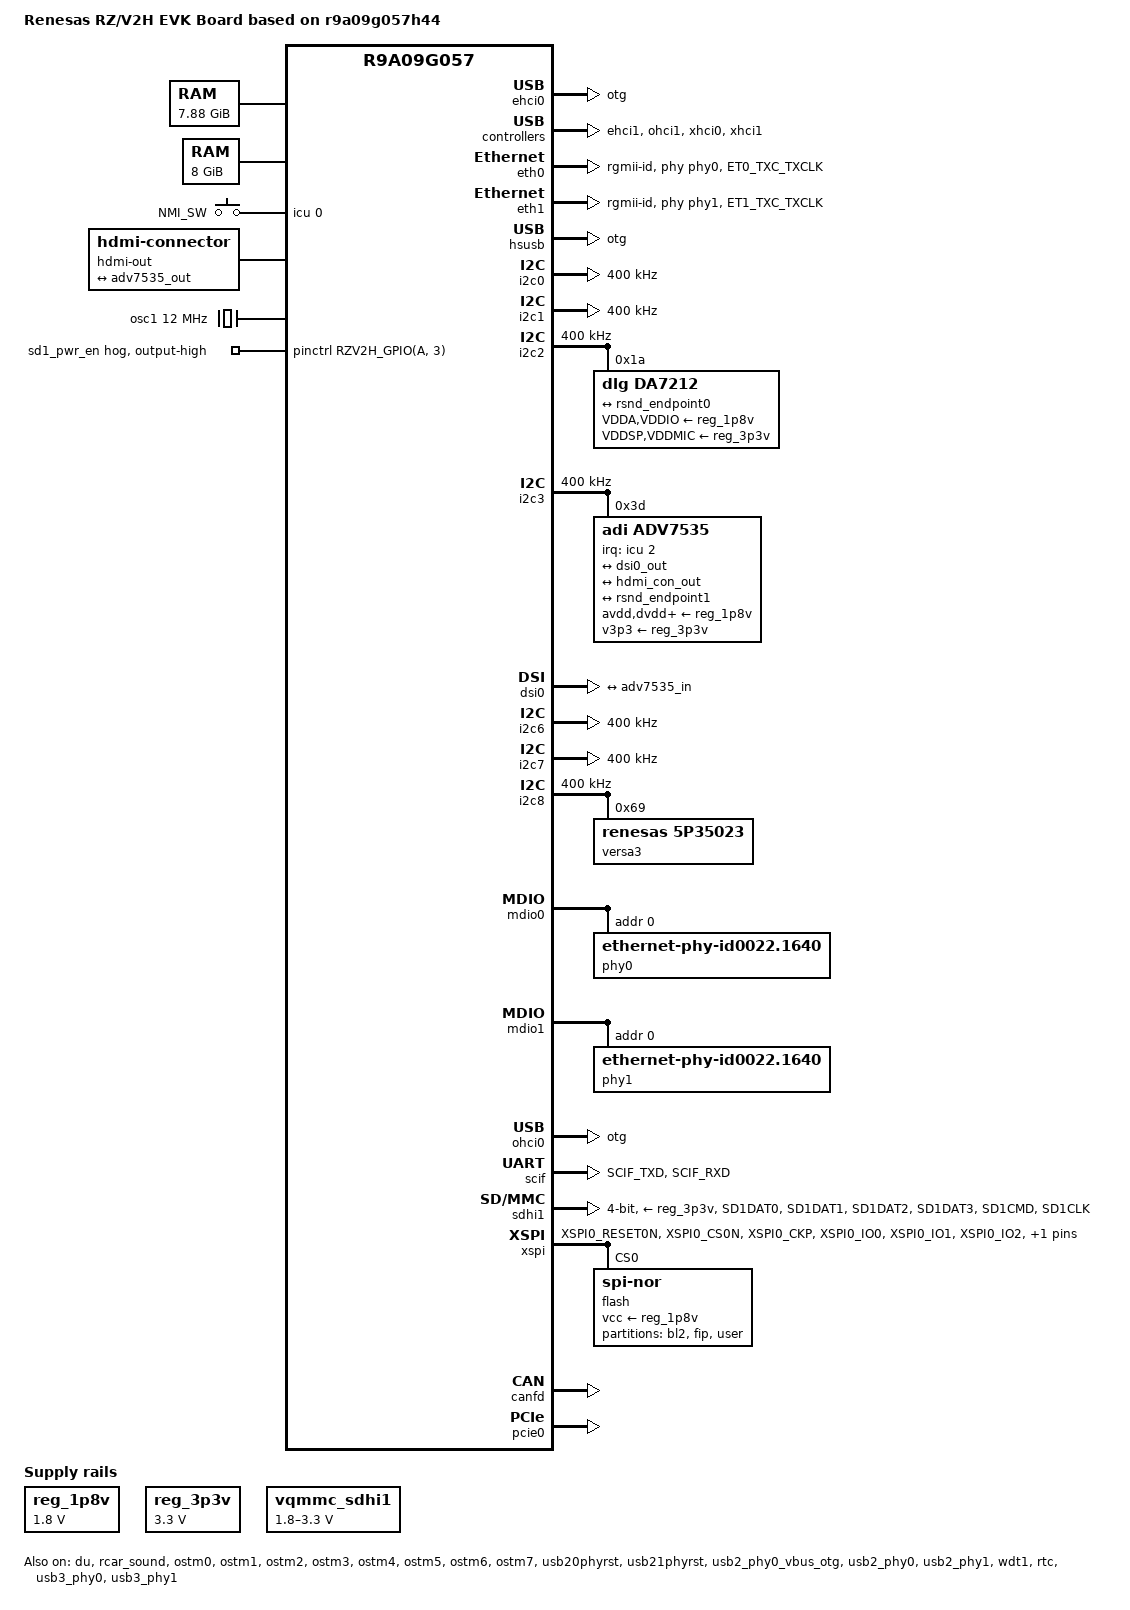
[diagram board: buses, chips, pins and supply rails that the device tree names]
// SPDX-License-Identifier: (GPL-2.0-only OR BSD-2-Clause)
/*
 * Device Tree Source for the RZ/V2H EVK board
 *
 * Copyright (C) 2024 Renesas Electronics Corp.
 */

/dts-v1/;

#include <dt-bindings/pinctrl/renesas,r9a09g057-pinctrl.h>
#include <dt-bindings/gpio/gpio.h>
#include <dt-bindings/input/input.h>
#include "r9a09g057.dtsi"

/*
 * SSI-DA7212
 *
 * These commands are required when Playback/Capture
 *
 *	amixer -q cset name='Aux Switch' on
 *	amixer -q cset name='Mixin Left Aux Left Switch' on
 *	amixer -q cset name='Mixin Right Aux Right Switch' on
 *	amixer -q cset name='ADC Switch' on
 *	amixer -q cset name='Mixout Right Mixin Right Switch' off
 *	amixer -q cset name='Mixout Left Mixin Left Switch' off
 *	amixer -q cset name='Headphone Volume' 80%
 *	amixer -q cset name='Headphone Switch' on
 *	amixer -q cset name='Mixout Left DAC Left Switch' on
 *	amixer -q cset name='Mixout Right DAC Right Switch' on
 *	amixer -q cset name='DAC Left Source MUX' 'DAI Input Left'
 *	amixer -q cset name='DAC Right Source MUX' 'DAI Input Right'
 *	amixer -q sset 'Mic 1 Amp Source MUX' 'MIC_P'
 *	amixer -q sset 'Mic 2 Amp Source MUX' 'MIC_P'
 *	amixer -q sset 'Mixin Left Mic 1' on
 *	amixer -q sset 'Mixin Right Mic 2' on
 *	amixer -q sset 'Mic 1' 80% on
 *	amixer -q sset 'Mic 2' 80% on
 *	amixer -q sset 'Lineout' 80% on
 *	amixer -q sset 'Mixin PGA' 40% on
 *
 * When Capture/Playback, use this command to amplify sound
 *	amixer set 'DVC In',0 10%
 *	amixer set 'DVC Out',0 20%
 */

/*
 * Jumper setting
 *
 * Please change the jumper setting in board devicetree corresponding to below Macros:
 *
 * SEL_CAN01_HEADER:
 *	1: CAN0/1 (default)		0: External Header Pin
 */

/* Switch selection settings */
#define SEL_CAN01_HEADER		1
/ {
	model = "Renesas RZ/V2H EVK Board based on r9a09g057h44";
	compatible = "renesas,rzv2h-evk", "renesas,r9a09g057h44", "renesas,r9a09g057";

	aliases {
		ethernet0 = &eth0;
		ethernet1 = &eth1;
		i2c0 = &i2c0;
		i2c1 = &i2c1;
		i2c2 = &i2c2;
		i2c3 = &i2c3;
		i2c6 = &i2c6;
		i2c7 = &i2c7;
		i2c8 = &i2c8;
		mmc1 = &sdhi1;
		serial0 = &scif;
	};

	chosen {
		bootargs = "ignore_loglevel";
		stdout-path = "serial0:115200n8";
	};

	memory@48000000 {
		device_type = "memory";
		/* first 128MB is reserved for secure area. */
		reg = <0x0 0x48000000 0x1 0xF8000000>;
	};

	memory@240000000 {
		device_type = "memory";
		reg = <0x2 0x40000000 0x2 0x00000000>;
	};

	reserved-memory {
		#address-cells = <2>;
		#size-cells = <2>;
		ranges;

		global_cma: linux,cma@58000000 {
			compatible = "shared-dma-pool";
			linux,cma-default;
			reusable;
			reg = <0x0 0x58000000 0x0 0x28000000>;
		};

		mmp_reserved: linux,multimedia {
			compatible = "shared-dma-pool";
			reusable;
			reg = <0x00000000 0x80000000 0x0 0x10000000>;
		};

		isp_reserved: frame_buffer@90000000 {
			compatible = "shared-dma-pool";
			reusable;
			reg = <0x0 0x90000000 0x0 0x18000000>;
		};

		opencva_reserved: OpenCVA@A8000000 {
			reusable;
			reg = <0x0 0xA8000000 0x0 0x7D00000>;
		};

		drp_codec: DRP-Codec@AFD00000 {
			reusable;
			reg = <0x0 0xAFD00000 0x0 0x300000>;
		};

		image_buf0: image_buf@B0000000 {
			compatible = "shared-dma-pool";
			reusable;
			reg = <0x0 0xB0000000 0x0 0x4000000>;
			label = "image_buf0";
		};

		cru_func: cru_buffer@B4000000 {
			compatible = "shared-dma-pool";
			reusable;
			reg = <0x0 0xB4000000 0x0 0x16400000>;
		};

		drp_reserved: DRP-AI@240000000 {
			reusable;
			reg = <0x2 0x40000000 0x0 0x20000000>;
		};
	};

	keys: keys {
		compatible = "gpio-keys";

		key-wakeup {
			interrupts-extended = <&icu 0 IRQ_TYPE_EDGE_FALLING>;
			linux,code = <KEY_WAKEUP>;
			label = "NMI_SW";
			debounce-interval = <20>;
			wakeup-source;
		};
	};

	reg_1p8v: regulator-1p8v {
		compatible = "regulator-fixed";
		regulator-name = "fixed-1.8V";
		regulator-min-microvolt = <1800000>;
		regulator-max-microvolt = <1800000>;
		regulator-boot-on;
		regulator-always-on;
	};

	reg_3p3v: regulator1 {
		compatible = "regulator-fixed";

		regulator-name = "fixed-3.3V";
		regulator-min-microvolt = <3300000>;
		regulator-max-microvolt = <3300000>;
		regulator-boot-on;
		regulator-always-on;
	};

	vqmmc_sdhi1: regulator-vccq-sdhi1 {
		compatible = "regulator-gpio";
		regulator-name = "SDHI1 VccQ";
		gpios = <&pinctrl RZV2H_GPIO(A, 2) GPIO_ACTIVE_HIGH>;
		regulator-min-microvolt = <1800000>;
		regulator-max-microvolt = <3300000>;
		gpios-states = <0>;
		states = <3300000 0>, <1800000 1>;
	};

	hdmi-out {
		compatible = "hdmi-connector";
		type = "d";

		port {
			hdmi_con_out: endpoint {
				remote-endpoint = <&adv7535_out>;
			};
		};
	};

	osc1: cec-clock {
		compatible = "fixed-clock";
		#clock-cells = <0>;
		clock-frequency = <12000000>;
	};

	x1_clk: x1-clock {
		compatible = "fixed-clock";
		#clock-cells = <0>;
		clock-frequency = <24000000>;
	};

#if (!SEL_CAN01_HEADER)
	codec_test0: codec_test0 {
		compatible = "linux,snd-soc-dummy";
		#sound-dai-cells = <0>;
		port {
			dummy_codec0: endpoint@0 {
				remote-endpoint = <&spdif0_endpoint>;
			};
		};
	};

	codec_test1: codec_test1 {
		compatible = "linux,snd-soc-dummy";
		#sound-dai-cells = <0>;
		port {
			dummy_codec1: endpoint {
				remote-endpoint = <&spdif1_endpoint>;
			};
		};
	};
#endif

	sound_card: sound {
		compatible = "audio-graph-card";

		label = "rcar-sound";

		dais = <&rsnd_port0	/* DA7211 */
			&rsnd_port1	/* HDMI0  */
#if (!SEL_CAN01_HEADER)
			&spdif_port0
			&spdif_port1
#endif
			>;
	};
};

&audio_extal_clk {
	clock-frequency = <22579200>;
};

&ehci0 {
	memory-region = <&global_cma>;
	dr_mode = "otg";
	status = "okay";
};

&ehci1 {
	memory-region = <&global_cma>;
	status = "okay";
};

&eth0 {
	pinctrl-0 = <&eth0_pins>;
	pinctrl-names = "default";
	phy-handle = <&phy0>;
	phy-mode = "rgmii-id";
	status = "okay";
};

&eth1 {
	pinctrl-0 = <&eth1_pins>;
	pinctrl-names = "default";
	phy-handle = <&phy1>;
	phy-mode = "rgmii-id";
	status = "okay";
};

&hsusb {
	dr_mode = "otg";
	status = "okay";
};

&i2c0 {
	pinctrl-0 = <&i2c0_pins>;
	pinctrl-names = "default";
	clock-frequency = <400000>;

	status = "okay";
};

&i2c1 {
	pinctrl-0 = <&i2c1_pins>;
	pinctrl-names = "default";
	clock-frequency = <400000>;

	status = "okay";
};

&i2c2 {
	pinctrl-0 = <&i2c2_pins>;
	pinctrl-names = "default";
	clock-frequency = <400000>;

	status = "okay";

	da7212: codec@1a {
		compatible = "dlg,da7212";
		#sound-dai-cells = <0>;
		#address-cells = <1>;
		#size-cells = <0>;
		reg = <0x1a>;

		clocks = <&rcar_sound>;
		clock-names = "mclk";

		dlg,micbias1-lvl = <2500>;
		dlg,micbias2-lvl = <2500>;
		dlg,dmic-data-sel = "lrise_rfall";
		dlg,dmic-samplephase = "between_clkedge";
		dlg,dmic-clkrate = <3000000>;

		VDDA-supply = <&reg_1p8v>;
		VDDSP-supply = <&reg_3p3v>;
		VDDMIC-supply = <&reg_3p3v>;
		VDDIO-supply = <&reg_1p8v>;

		port {
			da7212_endpoint: endpoint {
				remote-endpoint = <&rsnd_endpoint0>;
			};
		};
	};
};

&i2c3 {
	pinctrl-0 = <&i2c3_pins>;
	pinctrl-names = "default";
	clock-frequency = <400000>;

	status = "okay";

	adv7535: hdmi@3d {
		compatible = "adi,adv7535";
		pinctrl-0 = <&hdmi_int_pins>;
		pinctrl-names = "default";
		reg = <0x3d>;

		clocks = <&osc1>;
		clock-names = "cec";
		avdd-supply = <&reg_1p8v>;
		dvdd-supply = <&reg_1p8v>;
		pvdd-supply = <&reg_1p8v>;
		a2vdd-supply = <&reg_1p8v>;
		v3p3-supply = <&reg_3p3v>;
		v1p2-supply = <&reg_1p8v>;

		interrupt-parent = <&icu>;
		interrupts = <2 IRQ_TYPE_EDGE_FALLING>;

		adi,dsi-lanes = <4>;

		ports {
			#address-cells = <1>;
			#size-cells = <0>;

			port@0 {
				reg = <0>;
				adv7535_in: endpoint@0 {
					remote-endpoint = <&dsi0_out>;
				};
			};

			port@1 {
				reg = <1>;
				adv7535_out: endpoint@1 {
					remote-endpoint = <&hdmi_con_out>;
				};
			};

			port@2 {
				reg = <2>;
				dsi_hdmi0_snd_in: endpoint {
					remote-endpoint = <&rsnd_endpoint1>;
				};
			};
		};
	};
};

&du {
	status = "okay";
};

&dsi0 {
	status = "okay";

	ports {
		port@1 {
			dsi0_out: endpoint {
				remote-endpoint = <&adv7535_in>;
				data-lanes = <1 2 3 4>;
			};
		};
	};
};

&i2c6 {
	pinctrl-0 = <&i2c6_pins>;
	pinctrl-names = "default";
	clock-frequency = <400000>;

	status = "okay";
};

&i2c7 {
	pinctrl-0 = <&i2c7_pins>;
	pinctrl-names = "default";
	clock-frequency = <400000>;

	status = "okay";
};

&i2c8 {
	pinctrl-0 = <&i2c8_pins>;
	pinctrl-names = "default";
	clock-frequency = <400000>;

	status = "okay";

	versa3: versa3@69 {
		compatible = "renesas,5p35023";
		reg = <0x69>;
		#clock-cells = <1>;
		clocks = <&x1_clk>;
		clock-names = "x1";

		assigned-clocks = <&versa3 0>, <&versa3 1>,
				  <&versa3 2>, <&versa3 3>,
				  <&versa3 4>, <&versa3 5>;
		assigned-clock-rates =	<24000000>, <24576000>,
					<32768>, <22579200>,
					<100000000>, <100000000>;
		clock-divider-read-only = <1>, <1>, <1>, <1>, <1>;
		clock-flags = <2176>, <2176>, <2176>, <2052>, <2176>, <2048>;
	};
};

&rcar_sound {
	pinctrl-0 = <&sound_pins>;
	pinctrl-names = "default";

	status = "okay";

	/* audio_clkout */
	#clock-cells = <0>;
	clock-frequency = <11289600>;

	/* Multi DAI */
	#sound-dai-cells = <1>;

	ports {
		#address-cells = <1>;
		#size-cells = <0>;
		rsnd_port0: port@0 {
			reg = <0>;
			rsnd_endpoint0: endpoint {
				remote-endpoint = <&da7212_endpoint>;

				dai-format = "i2s";
				bitclock-master = <&rsnd_endpoint0>;
				frame-master = <&rsnd_endpoint0>;
				mclk-fs = <256>;

				playback = <&ssi3>, <&src0>, <&dvc0>;
				capture = <&ssi4>, <&src1>, <&dvc1>;
			};
		};

		rsnd_port1: port@1 {
			reg = <1>;
			rsnd_endpoint1: endpoint {
				remote-endpoint = <&dsi_hdmi0_snd_in>;

				dai-format = "i2s";
				bitclock-master = <&rsnd_endpoint1>;
				frame-master = <&rsnd_endpoint1>;

				playback = <&ssi0>;
			};
		};

#if (!SEL_CAN01_HEADER)
		spdif_port0: port@2 {
			reg = <2>;
			spdif0_endpoint: endpoint {
				remote-endpoint = <&dummy_codec0>;

				bitclock-master = <&spdif0_endpoint>;
				frame-master = <&spdif0_endpoint>;

				playback = <&spdif0>;
				capture  = <&spdif0>;
			};
		};

		spdif_port1: port@3 {
			reg = <3>;
			spdif1_endpoint: endpoint {
				remote-endpoint = <&dummy_codec1>;

				bitclock-master = <&spdif1_endpoint>;
				frame-master = <&spdif1_endpoint>;

				playback = <&spdif2>;
				capture  = <&spdif2>;
			};
		};
#endif
	};
};

&ssi4 {
	shared-pin;
};

&mdio0 {
	phy0: ethernet-phy@0 {
		compatible = "ethernet-phy-id0022.1640", "ethernet-phy-ieee802.3-c22";
		reg = <0>;
		rxc-skew-psec = <0>;
		txc-skew-psec = <0>;
		rxdv-skew-psec = <0>;
		txdv-skew-psec = <0>;
		rxd0-skew-psec = <0>;
		rxd1-skew-psec = <0>;
		rxd2-skew-psec = <0>;
		rxd3-skew-psec = <0>;
		txd0-skew-psec = <0>;
		txd1-skew-psec = <0>;
		txd2-skew-psec = <0>;
		txd3-skew-psec = <0>;
	};
};

&mdio1 {
	phy1: ethernet-phy@1 {
		compatible = "ethernet-phy-id0022.1640", "ethernet-phy-ieee802.3-c22";
		reg = <0>;
		rxc-skew-psec = <0>;
		txc-skew-psec = <0>;
		rxdv-skew-psec = <0>;
		txdv-skew-psec = <0>;
		rxd0-skew-psec = <0>;
		rxd1-skew-psec = <0>;
		rxd2-skew-psec = <0>;
		rxd3-skew-psec = <0>;
		txd0-skew-psec = <0>;
		txd1-skew-psec = <0>;
		txd2-skew-psec = <0>;
		txd3-skew-psec = <0>;
	};
};

&ohci0 {
	memory-region = <&global_cma>;
	dr_mode = "otg";
	status = "okay";
};

&ohci1 {
	memory-region = <&global_cma>;
	status = "okay";
};

&ostm0 {
	status = "okay";
};

&ostm1 {
	status = "okay";
};

&ostm2 {
	status = "okay";
};

&ostm3 {
	status = "okay";
};

&ostm4 {
	status = "okay";
};

&ostm5 {
	status = "okay";
};

&ostm6 {
	status = "okay";
};

&ostm7 {
	status = "okay";
};

&pinctrl {
	eth0_pins: eth0 {
		pins = "ET0_TXC_TXCLK";
		output-enable;
	};

	eth1_pins: eth1 {
		pins = "ET1_TXC_TXCLK";
		output-enable;
	};

	i2c0_pins: i2c0 {
		pinmux = <RZV2H_PORT_PINMUX(3, 0, 1)>, /* I2C0_SDA */
			 <RZV2H_PORT_PINMUX(3, 1, 1)>; /* I2C0_SCL */
	};

	i2c1_pins: i2c1 {
		pinmux = <RZV2H_PORT_PINMUX(3, 2, 1)>, /* I2C1_SDA */
			 <RZV2H_PORT_PINMUX(3, 3, 1)>; /* I2C1_SCL */
	};

	i2c2_pins: i2c2 {
		pinmux = <RZV2H_PORT_PINMUX(2, 0, 4)>, /* I2C2_SDA */
			 <RZV2H_PORT_PINMUX(2, 1, 4)>; /* I2C2_SCL */
	};

	i2c3_pins: i2c3 {
		pinmux = <RZV2H_PORT_PINMUX(3, 6, 1)>, /* I2C3_SDA */
			 <RZV2H_PORT_PINMUX(3, 7, 1)>; /* I2C3_SCL */
	};

	i2c6_pins: i2c6 {
		pinmux = <RZV2H_PORT_PINMUX(4, 4, 1)>, /* I2C6_SDA */
			 <RZV2H_PORT_PINMUX(4, 5, 1)>; /* I2C6_SCL */
	};

	i2c7_pins: i2c7 {
		pinmux = <RZV2H_PORT_PINMUX(4, 6, 1)>, /* I2C7_SDA */
			 <RZV2H_PORT_PINMUX(4, 7, 1)>; /* I2C7_SCL */
	};

	i2c8_pins: i2c8 {
		pinmux = <RZV2H_PORT_PINMUX(0, 6, 1)>, /* I2C8_SDA */
			 <RZV2H_PORT_PINMUX(0, 7, 1)>; /* I2C8_SCL */
	};

#if (SEL_CAN01_HEADER)
	can0_pins: can0 {
		pinmux = <RZV2H_PORT_PINMUX(8, 0, 5)>, /* TX */
			 <RZV2H_PORT_PINMUX(8, 1, 5)>; /* RX */
	};

	can1_pins: can1 {
		pinmux = <RZV2H_PORT_PINMUX(8, 2, 5)>, /* TX */
			 <RZV2H_PORT_PINMUX(8, 3, 5)>; /* RX */
	};
#endif

	sound_pins: sound {
		ssi34_pins: ssi34 {
			pinmux = <RZV2H_PORT_PINMUX(1, 2, 7)>, /* SSI3_SCK */
				 <RZV2H_PORT_PINMUX(1, 3, 7)>, /* SSI3_WS */
				 <RZV2H_PORT_PINMUX(0, 4, 7)>, /* SSI3_SDATA */
				 <RZV2H_PORT_PINMUX(1, 5, 7)>; /* SSI4_SDATA */
		};

		ssi0_pins: ssi0 {
			pinmux = <RZV2H_PORT_PINMUX(4, 0, 7)>, /* SSI0_SCK */
				 <RZV2H_PORT_PINMUX(4, 1, 7)>, /* SSI0_WS */
				 <RZV2H_PORT_PINMUX(4, 2, 7)>; /* SSI0_SDATA */
		};

		sound_clk_pins: sound_clk {
			pinmux = <RZV2H_PORT_PINMUX(1, 0, 7)>, /* AUDIO_CLKB */
				 <RZV2H_PORT_PINMUX(1, 1, 7)>, /* AUDIO_CLKC */
				 <RZV2H_PORT_PINMUX(9, 7, 8)>; /* AUDIO_CLKOUT */
		};

#if (!SEL_CAN01_HEADER)
		spdif0_pins: spdif0 {
			pinmux = <RZV2H_PORT_PINMUX(8, 0, 8)>, /* SPDIF0_OUT */
				 <RZV2H_PORT_PINMUX(8, 1, 8)>; /* SPDIF0_IN */
		};

		spdif2_pins: spdif2 {
			pinmux = <RZV2H_PORT_PINMUX(8, 2, 8)>, /* SPDIF2_OUT */
				 <RZV2H_PORT_PINMUX(8, 3, 8)>; /* SPDIF2_IN */
		};
#endif
	};

	scif_pins: scif {
		pins = "SCIF_TXD", "SCIF_RXD";
		renesas,output-impedance = <1>;
	};

	sd1-pwr-en-hog {
		gpio-hog;
		gpios = <RZV2H_GPIO(A, 3) GPIO_ACTIVE_HIGH>;
		output-high;
		line-name = "sd1_pwr_en";
	};

	sdhi1_pins: sd1 {
		sd1_dat_cmd {
			pins = "SD1DAT0", "SD1DAT1", "SD1DAT2", "SD1DAT3", "SD1CMD";
			input-enable;
			renesas,output-impedance = <3>;
			slew-rate = <0>;
		};

		sd1_clk {
			pins = "SD1CLK";
			renesas,output-impedance = <3>;
			slew-rate = <0>;
		};

		sd1_cd {
			pinmux = <RZV2H_PORT_PINMUX(9, 4, 14)>; /* SD1_CD */
		};
	};

	usb20_pins: usb20 {
		ovc {
			pinmux =  <RZV2H_PORT_PINMUX(9, 6, 14)>; /* OVC */
		};

		vbus {
			pinmux = <RZV2H_PORT_PINMUX(9, 5, 14)>; /* VBUS */
		};
	};

	usb21_pins: usb21 {
		ovc {
			pinmux = <RZV2H_PORT_PINMUX(6, 7, 14)>; /* OVC */
		};

		vbus {
			pinmux = <RZV2H_PORT_PINMUX(6, 6, 14)>; /* VBUS */
		};
	};

	xspi_pins: xspi0 {
		ctrl {
			pins = "XSPI0_RESET0N", "XSPI0_CS0N", "XSPI0_CKP";
			output-enable;
		};

		io {
			pins = "XSPI0_IO0", "XSPI0_IO1", "XSPI0_IO2", "XSPI0_IO3";
			renesas,output-impedance = <3>;
		};
	};

	usb30_pins: usb30 {
		ovc {
			pinmux = <RZV2H_PORT_PINMUX(B, 1, 14)>; /* OVC */
		};

		vbus {
			pinmux = <RZV2H_PORT_PINMUX(B, 0, 14)>; /* VBUS */
		};
	};

	usb31_pins: usb31 {
		ovc {
			pinmux = <RZV2H_PORT_PINMUX(6, 3, 14)>; /* OVC */
		};

		vbus {
			pinmux = <RZV2H_PORT_PINMUX(6, 2, 14)>; /* VBUS */
		};
	};

	hdmi_int_pins: hdmi_int {
		pinmux = <RZV2H_PORT_PINMUX(7, 1, 13)>; /* IRQ1-HDMI_INT# */
	};

};

&audio_extal_clk {
	clock-frequency = <22579200>;
};

&audio_clkb {
	clock-frequency = <24576000>;
};

&audio_clkc {
	clock-frequency = <22579200>;
};

&qextal_clk {
	clock-frequency = <24000000>;
};

&rtxin_clk {
	clock-frequency = <32768>;
};

&scif {
	pinctrl-0 = <&scif_pins>;
	pinctrl-names = "default";

	status = "okay";
};

&sdhi1 {
	pinctrl-0 = <&sdhi1_pins>;
	pinctrl-1 = <&sdhi1_pins>;
	pinctrl-names = "default", "state_uhs";
	vmmc-supply = <&reg_3p3v>;
	vqmmc-supply = <&vqmmc_sdhi1>;
	bus-width = <4>;
	sd-uhs-sdr50;
	sd-uhs-sdr104;
	status = "okay";
};

&usb20phyrst {
	status = "okay";
};

&usb21phyrst {
	status = "okay";
};

&usb2_phy0_vbus_otg {
	status = "okay";
};

&usb2_phy0 {
	pinctrl-0 = <&usb20_pins>;
	pinctrl-names = "default";

	vbus-supply = <&usb2_phy0_vbus_otg>;
	status = "okay";
};

&usb2_phy1 {
	pinctrl-0 = <&usb21_pins>;
	pinctrl-names = "default";

	status = "okay";
};

&wdt1 {
	status = "okay";
};

&xspi {
	pinctrl-0 = <&xspi_pins>;
	pinctrl-names = "default";
	/*
	 * MT25QU512ABB8E12 flash chip is capable of running at 166MHz
	 * clock frequency. Set the clock frequency to the maximum 133MHz
	 * supported by the RZ/V2H SoC.
	 */
	assigned-clocks = <&cpg CPG_CORE R9A09G057_SPI_CLK_SPI>;
	assigned-clock-rates = <133333334>;
	status = "okay";

	flash@0 {
		compatible = "jedec,spi-nor";
		reg = <0>;
		vcc-supply = <&reg_1p8v>;
		m25p,fast-read;
		spi-tx-bus-width = <4>;
		spi-rx-bus-width = <4>;

		partitions {
			compatible = "fixed-partitions";
			#address-cells = <1>;
			#size-cells = <1>;

			partition@0 {
				label = "bl2";
				reg = <0x00000000 0x00060000>;
			};

			partition@60000 {
				label = "fip";
				reg = <0x00060000 0x1fa0000>;
			};

			partition@2000000 {
				label = "user";
				reg = <0x2000000 0x2000000>;
			};
		};
	};
};

&rtc_clk {
	clock-frequency = <32768>;
};

&rtc {
	status = "okay";
};

&usb3_phy0 {
	status = "okay";
};

&usb3_phy1 {
	status = "okay";
};

&xhci0 {
	pinctrl-0 = <&usb30_pins>;
	pinctrl-names = "default";

	memory-region = <&global_cma>;
	status = "okay";
};

&xhci1 {
	pinctrl-0 = <&usb31_pins>;
	pinctrl-names = "default";

	memory-region = <&global_cma>;
	status = "okay";
};

#if (SEL_CAN01_HEADER)
&canfd {
	pinctrl-0 = <&can0_pins &can1_pins>;
	pinctrl-names = "default";
	status = "okay";

	channel0 {
		status = "okay";
	};

	channel1 {
		status = "okay";
	};
};
#endif

&pcie0 {
	/* First 128MB is reserved for secure area. */
	dma-ranges = <0x42000000 0 0x48000000 0 0x48000000 0x3 0xF8000000>;
	status = "okay";
};
